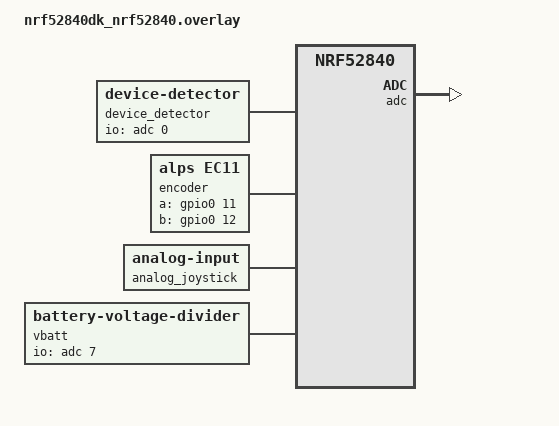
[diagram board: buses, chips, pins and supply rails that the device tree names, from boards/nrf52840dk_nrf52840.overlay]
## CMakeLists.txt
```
# Copyright (c) 2023 ZMK Contributors
# SPDX-License-Identifier: MIT

cmake_minimum_required(VERSION 3.20.0)

# 设置应用程序名称
set(BOARD_ROOT ${CMAKE_CURRENT_SOURCE_DIR}/..)
set(ZMK_APP_DIR ${CMAKE_CURRENT_SOURCE_DIR}/..)

find_package(Zephyr REQUIRED HINTS $ENV{ZEPHYR_BASE})
project(zmk_device_detector_test)

# 包含头文件目录
target_include_directories(app PRIVATE ${CMAKE_SOURCE_DIR}/../include)

# 添加源文件
target_sources(app PRIVATE 
  src/main.c
) 
```

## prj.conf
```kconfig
# 启用日志
CONFIG_LOG=y
CONFIG_LOG_DEFAULT_LEVEL=3

# 启用ADC
CONFIG_ADC=y

# 启用设备检测器
CONFIG_ZMK_DEVICE_DETECTOR=y
CONFIG_ZMK_DEVICE_DETECTOR_LOG_LEVEL=4

# 启用EC11编码器
CONFIG_EC11=y
CONFIG_EC11_TRIGGER_GLOBAL_THREAD=y

# 启用模拟输入(摇杆)
CONFIG_ANALOG_INPUT=y
CONFIG_ANALOG_INPUT_LOG_LEVEL=4
CONFIG_ANALOG_INPUT_LOG_DBG_RAW=y
CONFIG_ANALOG_INPUT_LOG_DBG_REPORT=y

# 启用输入子系统
CONFIG_INPUT=y 
```

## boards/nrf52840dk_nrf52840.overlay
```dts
/*
 * Copyright (c) 2023 ZMK Contributors
 *
 * SPDX-License-Identifier: MIT
 */

#include <dt-bindings/zmk/adc-input.h>

/ {
    chosen {
        zmk,battery = &vbatt;
    };

    /* 模拟设备检测器 */
    device_detector: device_detector {
        compatible = "zmk,device-detector";
        status = "okay";
        io-channels = <&adc 0>; // 使用ADC通道0检测设备
        adc-threshold-tolerance = <50>; // 阈值容差(毫伏)
        adc-thresholds = <0 500 1000 1500>; // 各设备的ADC阈值(毫伏)
        poll-interval-ms = <1000>; // 轮询间隔(毫秒)
    };

    /* EC11旋钮编码器 */
    encoder: encoder {
        compatible = "alps,ec11";
        status = "okay";
        a-gpios = <&gpio0 11 (GPIO_ACTIVE_HIGH | GPIO_PULL_UP)>;
        b-gpios = <&gpio0 12 (GPIO_ACTIVE_HIGH | GPIO_PULL_UP)>;
        steps = <24>;
        resolution = <4>;
    };

    /* 模拟输入(摇杆) */
    analog_joystick: analog_joystick {
        compatible = "zmk,analog-input";
        status = "okay";
        sampling-hz = <50>;

        x_axis {
            io-channels = <&adc 1>;
            mv-mid = <1650>;
            mv-min-max = <1600>;
            mv-deadzone = <10>;
            scale-multiplier = <1>;
            scale-divisor = <10>;
            invert;
            evt-type = <0x03>; // EV_ABS
            input-code = <0x00>; // ABS_X
        };

        y_axis {
            io-channels = <&adc 2>;
            mv-mid = <1650>;
            mv-min-max = <1600>;
            mv-deadzone = <10>;
            scale-multiplier = <1>;
            scale-divisor = <10>;
            evt-type = <0x03>; // EV_ABS
            input-code = <0x01>; // ABS_Y
        };
    };

    /* 电池监测 */
    vbatt: vbatt {
        compatible = "zmk,battery-voltage-divider";
        io-channels = <&adc 7>;
        output-ohms = <2000000>;
        full-ohms = <(2000000 + 806000)>;
    };
};

/* 启用ADC */
&adc {
    status = "okay";
}; 
```

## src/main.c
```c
/*
 * Copyright (c) 2023 ZMK Contributors
 *
 * SPDX-License-Identifier: MIT
 */

#include <zephyr/kernel.h>
#include <zephyr/device.h>
#include <zephyr/logging/log.h>

#include <zmk-device-detector/device-detector.h>

LOG_MODULE_REGISTER(app, CONFIG_LOG_DEFAULT_LEVEL);

/* 设备状态回调函数 */
static void device_status_callback(enum zmk_device_type type, bool connected, void *user_data) {
    const char *device_names[] = {
        "None",
        "Trackball",
        "Joystick",
        "Encoder"
    };

    LOG_INF("设备 %s 状态变更: %s", device_names[type], connected ? "已连接" : "已断开");
}

void main(void) {
    LOG_INF("ZMK设备检测器测试程序启动");

    /* 获取设备检测器设备 */
    const struct device *dev = DEVICE_DT_GET_ONE(zmk_device_detector);
    if (!device_is_ready(dev)) {
        LOG_ERR("设备检测器未就绪");
        return;
    }

    /* 注册设备状态回调 */
    int ret = zmk_device_detector_register_callback(dev, device_status_callback, NULL);
    if (ret) {
        LOG_ERR("注册设备状态回调失败: %d", ret);
        return;
    }

    /* 启动设备检测器 */
    ret = zmk_device_detector_start(dev);
    if (ret) {
        LOG_ERR("启动设备检测器失败: %d", ret);
        return;
    }

    LOG_INF("设备检测器已启动，等待设备检测...");

    /* 主循环 */
    while (1) {
        k_sleep(K_SECONDS(1));
        
        enum zmk_device_type type = zmk_device_detector_get_device_type(dev);
        LOG_DBG("当前检测到的设备类型: %d", type);
    }
} 
```
